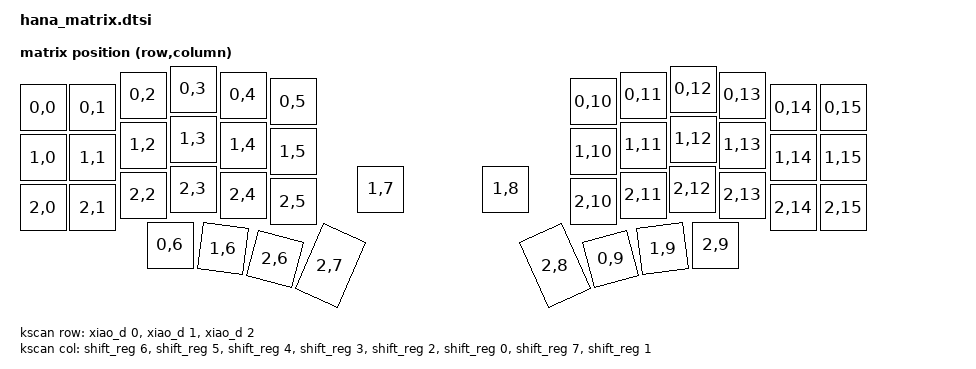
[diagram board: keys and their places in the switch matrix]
#include <dt-bindings/zmk/matrix_transform.h>
#include <physical_layouts.dtsi>

/ {
    chosen {
        zmk,kscan = &kscan;
        zmk,physical-layout = &default_layout;
    };

    default_layout: default_layout {
        compatible = "zmk,physical-layout";
        display-name = "Default";

        transform = <&default_transform>;

        keys  //                     w   h    x    y     rot    rx    ry
            = <&key_physical_attrs 100 100    0   37       0     0     0>
            , <&key_physical_attrs 100 100   99   37       0     0     0>
            , <&key_physical_attrs 100 100  200   12       0     0     0>
            , <&key_physical_attrs 100 100  300    0       0     0     0>
            , <&key_physical_attrs 100 100  400   12       0     0     0>
            , <&key_physical_attrs 100 100  500   25       0     0     0>
            , <&key_physical_attrs 100 100 1100   25       0     0     0>
            , <&key_physical_attrs 100 100 1200   12       0     0     0>
            , <&key_physical_attrs 100 100 1300    0       0     0     0>
            , <&key_physical_attrs 100 100 1399   12       0     0     0>
            , <&key_physical_attrs 100 100 1500   37       0     0     0>
            , <&key_physical_attrs 100 100 1600   37       0     0     0>
            , <&key_physical_attrs 100 100    0  137       0     0     0>
            , <&key_physical_attrs 100 100   99  137       0     0     0>
            , <&key_physical_attrs 100 100  200  112       0     0     0>
            , <&key_physical_attrs 100 100  300  100       0     0     0>
            , <&key_physical_attrs 100 100  400  112       0     0     0>
            , <&key_physical_attrs 100 100  500  125       0     0     0>
            , <&key_physical_attrs 100 100 1100  125       0     0     0>
            , <&key_physical_attrs 100 100 1200  112       0     0     0>
            , <&key_physical_attrs 100 100 1300  100       0     0     0>
            , <&key_physical_attrs 100 100 1399  112       0     0     0>
            , <&key_physical_attrs 100 100 1500  137       0     0     0>
            , <&key_physical_attrs 100 100 1600  137       0     0     0>
            , <&key_physical_attrs 100 100    0  237       0     0     0>
            , <&key_physical_attrs 100 100   99  237       0     0     0>
            , <&key_physical_attrs 100 100  200  212       0     0     0>
            , <&key_physical_attrs 100 100  300  200       0     0     0>
            , <&key_physical_attrs 100 100  400  212       0     0     0>
            , <&key_physical_attrs 100 100  500  225       0     0     0>
            , <&key_physical_attrs 100 100  675  200       0     0     0>
            , <&key_physical_attrs 100 100  925  200       0     0     0>
            , <&key_physical_attrs 100 100 1100  225       0     0     0>
            , <&key_physical_attrs 100 100 1200  212       0     0     0>
            , <&key_physical_attrs 100 100 1299  200       0     0     0>
            , <&key_physical_attrs 100 100 1399  212       0     0     0>
            , <&key_physical_attrs 100 100 1500  237       0     0     0>
            , <&key_physical_attrs 100 100 1600  237       0     0     0>
            , <&key_physical_attrs 100 100  254  312       0     0     0>
            , <&key_physical_attrs 100 100  360  319     760   410   369>
            , <&key_physical_attrs 100 100  464  340    1520   514   390>
            , <&key_physical_attrs 150 100  550  353 (-6625)   625   403>
            , <&key_physical_attrs 150 100  999  353    6625  1074   403>
            , <&key_physical_attrs 100 100 1135  340 (-1520)  1185   390>
            , <&key_physical_attrs 100 100 1239  319  (-760)  1289   369>
            , <&key_physical_attrs 100 100 1345  312       0     0     0>
            ;
    };

    kscan: kscan0 {
        compatible = "zmk,kscan-gpio-matrix";
        wakeup-source;

        diode-direction = "col2row";

        row-gpios
            = <&xiao_d 0 (GPIO_ACTIVE_HIGH | GPIO_PULL_DOWN)>
            , <&xiao_d 1 (GPIO_ACTIVE_HIGH | GPIO_PULL_DOWN)>
            , <&xiao_d 2 (GPIO_ACTIVE_HIGH | GPIO_PULL_DOWN)>
            ;

        // NOTE: Below are LHS columns, RHS columns are different
        col-gpios
            = <&shift_reg 6 (GPIO_ACTIVE_HIGH)>
            , <&shift_reg 5 (GPIO_ACTIVE_HIGH)>
            , <&shift_reg 4 (GPIO_ACTIVE_HIGH)>
            , <&shift_reg 3 (GPIO_ACTIVE_HIGH)>
            , <&shift_reg 2 (GPIO_ACTIVE_HIGH)>
            , <&shift_reg 0 (GPIO_ACTIVE_HIGH)>
            , <&shift_reg 7 (GPIO_ACTIVE_HIGH)>
            , <&shift_reg 1 (GPIO_ACTIVE_HIGH)>
            ;
    };

    default_transform: default_transform {
        compatible = "zmk,matrix-transform";
        columns = <16>;
        rows = <3>;
        map = <
            RC(0,0) RC(0,1) RC(0,2) RC(0,3) RC(0,4) RC(0,5)                 RC(0,10) RC(0,11) RC(0,12) RC(0,13) RC(0,14) RC(0,15)
            RC(1,0) RC(1,1) RC(1,2) RC(1,3) RC(1,4) RC(1,5)                 RC(1,10) RC(1,11) RC(1,12) RC(1,13) RC(1,14) RC(1,15)
            RC(2,0) RC(2,1) RC(2,2) RC(2,3) RC(2,4) RC(2,5) RC(1,7) RC(1,8) RC(2,10) RC(2,11) RC(2,12) RC(2,13) RC(2,14) RC(2,15)
                            RC(0,6) RC(1,6) RC(2,6) RC(2,7)                 RC(2,8)  RC(0,9)  RC(1,9)  RC(2,9)
        >;
    };

    left_encoder: left_encoder {
        compatible = "alps,ec11";
        steps = <80>;
        status = "disabled";
    };

    right_encoder: right_encoder {
        compatible = "alps,ec11";
        steps = <80>;
        status = "disabled";
    };

    sensors: sensors {
        compatible = "zmk,keymap-sensors";
        sensors = <&left_encoder &right_encoder>;
        triggers-per-rotation = <20>;
    };
};
